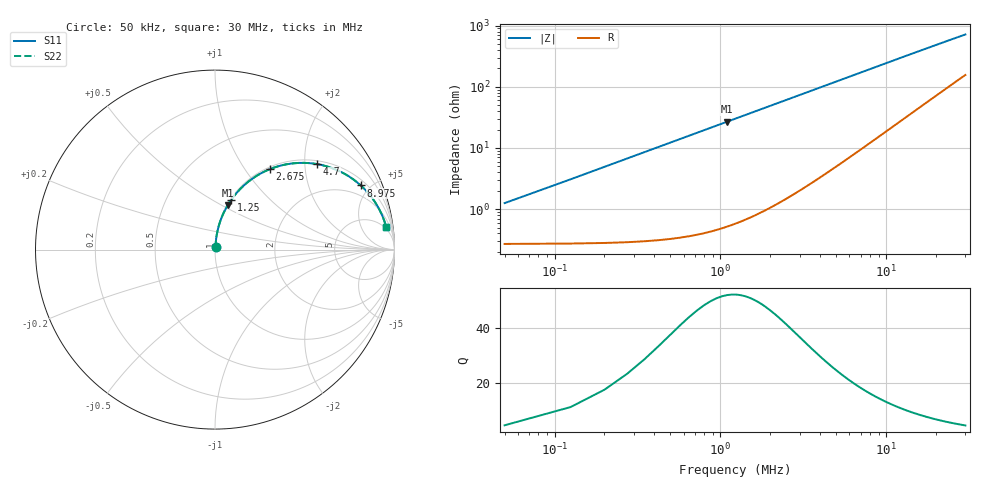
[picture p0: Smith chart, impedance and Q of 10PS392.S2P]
! Coilcraft 1008PS-392 Power Chip Inductor
! 7 October 2002
# MHZ S MA R 50
!Freq  MagS11  AngS11  MagS21  AngS21  MagS12  AngS12  MagS22  AngS22
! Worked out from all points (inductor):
!   401 points, 50 kHz to 30 MHz, reference 50 ohm
!   read as one part in series: L = 3.9 uH near 200 kHz
!   highest Q = 51.7 at 1.1 MHz (marker M1), where L = 3.9 uH
!   S11 on the Smith chart (normalised r, x): 50 kHz: 1.01, +0.02; 1.25 MHz: 1.01, +0.61; 2.675 MHz: 1.03, +1.31; 4.7 MHz: 1.09, +2.30; 8.975 MHz: 1.30, +4.38; 30 MHz: 4, +14
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0.05  0.01251 76.9  0.9972 -0.7  0.9972 -0.7  0.01251 76.9
0.125  0.03067 83.1  0.9968 -1.8  0.9968 -1.8  0.03067 83.1
0.275  0.06714 83.7  0.9949 -3.8  0.9949 -3.8  0.06714 83.7
0.35  0.0853 83.1  0.9934 -4.9  0.9934 -4.9  0.0853 83.1
0.425  0.1034 82.4  0.9916 -5.9  0.9916 -5.9  0.1034 82.4
0.575  0.1392 80.6  0.9869 -8.0  0.9869 -8.0  0.1392 80.6
0.725  0.1744 78.7  0.9809 -10.0  0.9809 -10.0  0.1744 78.7
0.875  0.209 76.8  0.9737 -12.1  0.9737 -12.1  0.209 76.8
1.1  0.2592 73.9  0.9609 -15.0  0.9609 -15.0  0.2592 73.9
1.25  0.2915 72.0  0.951 -16.9  0.951 -16.9  0.2915 72.0
1.85  0.4099 64.6  0.9036 -24.2  0.9036 -24.2  0.4099 64.6
2.675  0.5422 55.7  0.8267 -32.8  0.8267 -32.8  0.5422 55.7
3.575  0.6492 47.8  0.7408 -40.5  0.7408 -40.5  0.6492 47.8
4.7  0.7411 40.0  0.6434 -47.8  0.6434 -47.8  0.7411 40.0
5.075  0.7641 37.9  0.6144 -49.8  0.6144 -49.8  0.7641 37.9
6.8  0.8378 30.2  0.5031 -56.8  0.5031 -56.8  0.8378 30.2
8.975  0.8873 23.8  0.4041 -62.3  0.4041 -62.3  0.8873 23.8
10.1  0.903 21.4  0.3656 -64.2  0.3656 -64.2  0.903 21.4
15.05  0.9383 14.7  0.2558 -68.8  0.2558 -68.8  0.9383 14.7
20.075  0.952 11.1  0.1955 -70.3  0.1955 -70.3  0.952 11.1
25.025  0.9586 9.0  0.1589 -70.4  0.1589 -70.4  0.9586 9.0
30  0.9622 7.5  0.134 -69.9  0.134 -69.9  0.9622 7.5
